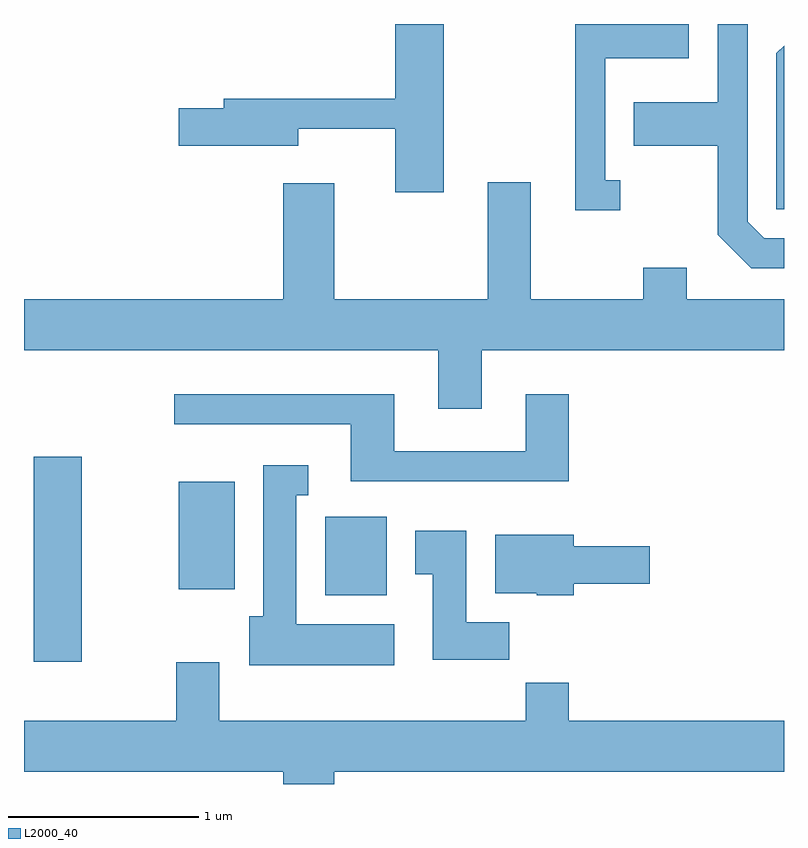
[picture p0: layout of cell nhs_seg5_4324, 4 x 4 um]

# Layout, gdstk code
import gdstk
lib = gdstk.Library(unit=1e-6, precision=1e-09)
def R(c, l, rs):  # rectangles x0, y0, x1, y1
    for r in rs: c.add(gdstk.rectangle(r[:2], r[2:], *l))
def P(c, l, *ps):  # polygons
    for p in ps: c.add(gdstk.Polygon(p, *l))
L2000_40 = (2000, 40)

nhs_seg5_4324 = lib.new_cell('nhs_seg5_4324')
R(nhs_seg5_4324, L2000_40, [(313.661,1450.716,313.914,1451.794), (315.196,1451.066,315.519,1451.479), (314.426,1451.096,314.719,1451.664), (316.051,1454.071,316.279,1454.072)])
P(nhs_seg5_4324, L2000_40, [(315.819,1454.072),(315.566,1454.072),(315.566,1453.679),(314.661,1453.679),(314.661,1453.629),(314.426,1453.629),(314.426,1453.431),(315.054,1453.431),(315.054,1453.521),(315.566,1453.521),(315.566,1453.186),(315.819,1453.186)],
  [(316.748,1453.249),(316.669,1453.249),(316.669,1453.891),(317.109,1453.891),(317.109,1454.072),(316.511,1454.072),(316.511,1453.091),(316.748,1453.091)],
  [(317.611,1452.944),(317.507,1452.944),(317.419,1453.032),(317.419,1454.072),(317.261,1454.072),(317.261,1453.659),(316.821,1453.659),(316.821,1453.431),(317.261,1453.431),(317.261,1452.964),(317.439,1452.786),(317.611,1452.786)],
  [(317.611,1453.957),(317.571,1453.917),(317.571,1453.096),(317.611,1453.096)],
  [(317.611,1452.624),(317.099,1452.624),(317.099,1452.789),(316.871,1452.789),(316.871,1452.624),(316.279,1452.624),(316.279,1453.239),(316.051,1453.239),(316.051,1452.624),(315.244,1452.624),(315.244,1453.234),(314.976,1453.234),(314.976,1452.624),(313.611,1452.624),(313.611,1452.356),(315.791,1452.356),(315.791,1452.046),(316.019,1452.046),(316.019,1452.356),(317.611,1452.356)],
  [(316.479,1452.124),(316.251,1452.124),(316.251,1451.824),(315.559,1451.824),(315.559,1452.124),(314.403,1452.124),(314.403,1451.966),(315.331,1451.966),(315.331,1451.666),(316.479,1451.666)],
  [(315.559,1450.914),(315.044,1450.914),(315.044,1451.591),(315.108,1451.591),(315.108,1451.749),(314.871,1451.749),(314.871,1450.954),(314.796,1450.954),(314.796,1450.696),(315.559,1450.696)],
  [(316.164,1450.924),(315.939,1450.924),(315.939,1451.404),(315.671,1451.404),(315.671,1451.176),(315.761,1451.176),(315.761,1450.726),(316.164,1450.726)],
  [(316.504,1451.126),(316.904,1451.126),(316.904,1451.324),(316.504,1451.324),(316.504,1451.384),(316.091,1451.384),(316.091,1451.076),(316.31,1451.076),(316.31,1451.066),(316.504,1451.066)],
  [(315.244,1450.136),(317.611,1450.136),(317.611,1450.404),(316.479,1450.404),(316.479,1450.604),(316.251,1450.604),(316.251,1450.404),(314.639,1450.404),(314.639,1450.714),(314.411,1450.714),(314.411,1450.404),(313.611,1450.404),(313.611,1450.136),(314.976,1450.136),(314.976,1450.072),(315.244,1450.072)])

lib.write_gds('nhs_seg5_4324.gds')
